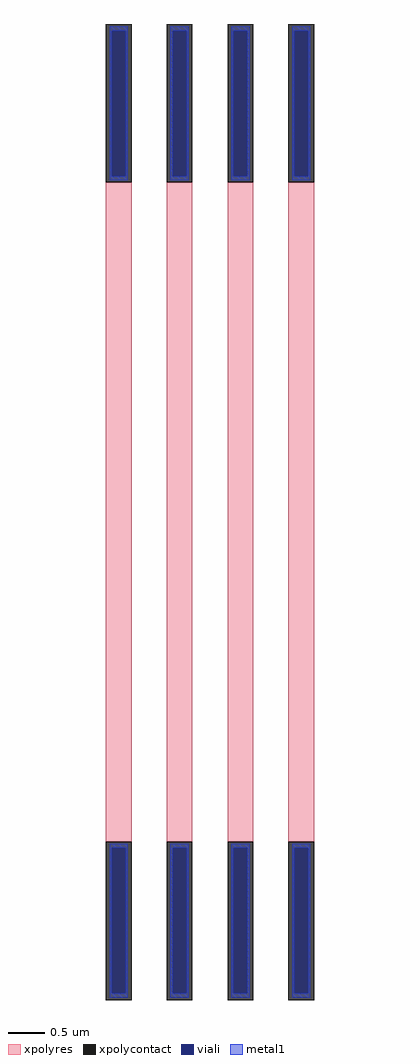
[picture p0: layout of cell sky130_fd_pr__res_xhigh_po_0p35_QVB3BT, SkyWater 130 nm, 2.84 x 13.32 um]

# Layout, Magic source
magic
tech sky130A
magscale 1 2
<< xpolycontact >>
rect -284 900 -214 1332
rect -284 -1332 -214 -900
rect -118 900 -48 1332
rect -118 -1332 -48 -900
rect 48 900 118 1332
rect 48 -1332 118 -900
rect 214 900 284 1332
rect 214 -1332 284 -900
<< xpolyres >>
rect -284 -900 -214 900
rect -118 -900 -48 900
rect 48 -900 118 900
rect 214 -900 284 900
<< viali >>
rect -268 917 -230 1314
rect -102 917 -64 1314
rect 64 917 102 1314
rect 230 917 268 1314
rect -268 -1314 -230 -917
rect -102 -1314 -64 -917
rect 64 -1314 102 -917
rect 230 -1314 268 -917
<< metal1 >>
rect -274 1314 -224 1326
rect -274 917 -268 1314
rect -230 917 -224 1314
rect -274 905 -224 917
rect -108 1314 -58 1326
rect -108 917 -102 1314
rect -64 917 -58 1314
rect -108 905 -58 917
rect 58 1314 108 1326
rect 58 917 64 1314
rect 102 917 108 1314
rect 58 905 108 917
rect 224 1314 274 1326
rect 224 917 230 1314
rect 268 917 274 1314
rect 224 905 274 917
rect -274 -917 -224 -905
rect -274 -1314 -268 -917
rect -230 -1314 -224 -917
rect -274 -1326 -224 -1314
rect -108 -917 -58 -905
rect -108 -1314 -102 -917
rect -64 -1314 -58 -917
rect -108 -1326 -58 -1314
rect 58 -917 108 -905
rect 58 -1314 64 -917
rect 102 -1314 108 -917
rect 58 -1326 108 -1314
rect 224 -917 274 -905
rect 224 -1314 230 -917
rect 268 -1314 274 -917
rect 224 -1326 274 -1314
<< properties >>
string gencell sky130_fd_pr__res_xhigh_po_0p35
string library sky130
string parameters w 0.35 l 9.0 m 1 nx 4 wmin 0.350 lmin 0.50 rho 2000 val 52.504k dummy 0 dw 0.0 term 188.2 sterm 0.0 caplen 0 wmax 0.350 guard 0 glc 1 grc 1 gtc 1 gbc 1 compatible {sky130_fd_pr__res_xhigh_po_0p35  sky130_fd_pr__res_xhigh_po_0p69 sky130_fd_pr__res_xhigh_po_1p41  sky130_fd_pr__res_xhigh_po_2p85 sky130_fd_pr__res_xhigh_po_5p73} snake 0 full_metal 1 n_guard 0 hv_guard 0 vias 1 viagb 0 viagt 0 viagl 0 viagr 0
<< end >>
